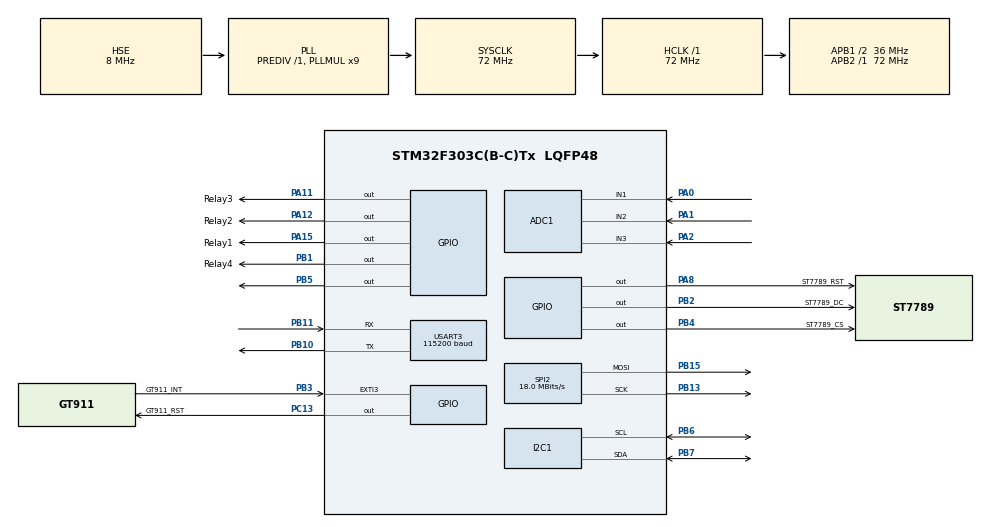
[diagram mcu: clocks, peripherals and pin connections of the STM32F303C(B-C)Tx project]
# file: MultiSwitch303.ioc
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ADC1.Channel-1\#ChannelRegularConversion=ADC_CHANNEL_1
ADC1.Channel-2\#ChannelRegularConversion=ADC_CHANNEL_2
ADC1.Channel-3\#ChannelRegularConversion=ADC_CHANNEL_3
ADC1.ContinuousConvMode=ENABLE
ADC1.NbrOfConversion=3
ADC1.NbrOfConversionFlag=1
ADC1.Offset-1\#ChannelRegularConversion=0
ADC1.Offset-2\#ChannelRegularConversion=0
ADC1.Offset-3\#ChannelRegularConversion=0
ADC1.OffsetNumber-1\#ChannelRegularConversion=ADC_OFFSET_NONE
ADC1.OffsetNumber-2\#ChannelRegularConversion=ADC_OFFSET_NONE
ADC1.OffsetNumber-3\#ChannelRegularConversion=ADC_OFFSET_NONE
ADC1.Rank-1\#ChannelRegularConversion=1
ADC1.Rank-2\#ChannelRegularConversion=2
ADC1.Rank-3\#ChannelRegularConversion=3
ADC1.SamplingTime-1\#ChannelRegularConversion=ADC_SAMPLETIME_1CYCLE_5
ADC1.SamplingTime-2\#ChannelRegularConversion=ADC_SAMPLETIME_1CYCLE_5
ADC1.SamplingTime-3\#ChannelRegularConversion=ADC_SAMPLETIME_1CYCLE_5
ADC1.SamplingTimeOPAMP-2\#ChannelRegularConversion=ADC_SAMPLETIME_61CYCLES_5
ADC1.SamplingTimeOPAMP-3\#ChannelRegularConversion=ADC_SAMPLETIME_61CYCLES_5
ADC1.master=1
Dma.I2C1_RX.0.Direction=DMA_PERIPH_TO_MEMORY
Dma.I2C1_RX.0.Instance=DMA1_Channel7
Dma.I2C1_RX.0.MemDataAlignment=DMA_MDATAALIGN_BYTE
Dma.I2C1_RX.0.MemInc=DMA_MINC_ENABLE
Dma.I2C1_RX.0.Mode=DMA_NORMAL
Dma.I2C1_RX.0.PeriphDataAlignment=DMA_PDATAALIGN_BYTE
Dma.I2C1_RX.0.PeriphInc=DMA_PINC_DISABLE
Dma.I2C1_RX.0.Priority=DMA_PRIORITY_LOW
Dma.I2C1_TX.1.Direction=DMA_MEMORY_TO_PERIPH
Dma.I2C1_TX.1.Instance=DMA1_Channel6
Dma.I2C1_TX.1.MemDataAlignment=DMA_MDATAALIGN_BYTE
Dma.I2C1_TX.1.MemInc=DMA_MINC_ENABLE
Dma.I2C1_TX.1.Mode=DMA_NORMAL
Dma.I2C1_TX.1.PeriphDataAlignment=DMA_PDATAALIGN_BYTE
Dma.I2C1_TX.1.PeriphInc=DMA_PINC_DISABLE
Dma.I2C1_TX.1.Priority=DMA_PRIORITY_LOW
Dma.Request0=I2C1_RX
Dma.Request1=I2C1_TX
Mcu.Family=STM32F3
Mcu.Name=STM32F303C(B-C)Tx
Mcu.Package=LQFP48
NVIC.DMA1_Channel6_IRQn=true\:0\:0\:false\:false\:true\:false\:true\:true
NVIC.DMA1_Channel7_IRQn=true\:0\:0\:false\:false\:true\:false\:true\:true
NVIC.EXTI3_IRQn=true\:0\:0\:false\:false\:true\:true\:true\:true
NVIC.I2C1_EV_IRQn=true\:0\:0\:false\:false\:true\:true\:true\:true
NVIC.PriorityGroup=NVIC_PRIORITYGROUP_4
NVIC.TIM1_UP_TIM16_IRQn=true\:15\:0\:false\:false\:true\:false\:true\:true
NVIC.TimeBase=TIM1_UP_TIM16_IRQn
NVIC.TimeBaseIP=TIM1
PA0.Mode=IN1-Single-Ended
PA0.Signal=ADC1_IN1
PA1.Mode=IN2-Single-Ended
PA1.Signal=ADC1_IN2
PA11.GPIO_Label=Relay3
PA11.Signal=GPIO_Output
PA12.GPIO_Label=Relay2
PA12.Signal=GPIO_Output
PA13.Mode=Serial_Wire
PA13.Signal=SYS_JTMS-SWDIO
PA14.Mode=Serial_Wire
PA14.Signal=SYS_JTCK-SWCLK
PA15.GPIO_Label=Relay1
PA15.Signal=GPIO_Output
PA2.Mode=IN3-Single-Ended
PA2.Signal=ADC1_IN3
PA8.GPIO_Label=ST7789_RST
PA8.Signal=GPIO_Output
PB1.GPIO_Label=Relay4
PB1.Signal=GPIO_Output
PB10.Mode=Asynchronous
PB10.Signal=USART3_TX
PB11.Mode=Asynchronous
PB11.Signal=USART3_RX
PB13.Mode=TX_Only_Simplex_Unidirect_Master
PB13.Signal=SPI2_SCK
PB15.Mode=TX_Only_Simplex_Unidirect_Master
PB15.Signal=SPI2_MOSI
PB2.GPIO_Label=ST7789_DC
PB2.Signal=GPIO_Output
PB3.GPIO_Label=GT911_INT
PB3.Signal=GPXTI3
PB4.GPIO_Label=ST7789_CS
PB4.Signal=GPIO_Output
PB5.Signal=GPIO_Output
PB6.Mode=I2C
PB6.Signal=I2C1_SCL
PB7.Mode=I2C
PB7.Signal=I2C1_SDA
PC13.GPIO_Label=GT911_RST
PC13.Signal=GPIO_Output
PC14-OSC32_IN.Mode=LSE-External-Oscillator
PC14-OSC32_IN.Signal=RCC_OSC32_IN
PC15-OSC32_OUT.Mode=LSE-External-Oscillator
PC15-OSC32_OUT.Signal=RCC_OSC32_OUT
PF0-OSC_IN.Mode=HSE-External-Oscillator
PF0-OSC_IN.Signal=RCC_OSC_IN
PF1-OSC_OUT.Mode=HSE-External-Oscillator
PF1-OSC_OUT.Signal=RCC_OSC_OUT
ProjectManager.HeapSize=0x200
ProjectManager.StackSize=0x400
ProjectManager.TargetToolchain=STM32CubeIDE
RCC.AHBFreq_Value=72000000
RCC.APB1CLKDivider=RCC_HCLK_DIV2
RCC.APB1Freq_Value=36000000
RCC.APB1TimFreq_Value=72000000
RCC.APB2Freq_Value=72000000
RCC.APB2TimFreq_Value=72000000
RCC.CortexFreq_Value=72000000
RCC.HCLKFreq_Value=72000000
RCC.HSE_VALUE=8000000
RCC.HSI_VALUE=8000000
RCC.PLLMUL=RCC_PLL_MUL9
RCC.PLLSourceVirtual=RCC_PLLSOURCE_HSE
RCC.SYSCLKFreq_VALUE=72000000
RCC.SYSCLKSourceVirtual=RCC_SYSCLKSOURCE_PLLCLK
RCC.USBFreq_Value=72000000
SPI2.CLKPhase=SPI_PHASE_2EDGE
SPI2.CLKPolarity=SPI_POLARITY_HIGH
SPI2.CalculateBaudRate=18.0 MBits/s
SPI2.DataSize=SPI_DATASIZE_8BIT
SPI2.Direction=SPI_DIRECTION_2LINES
SPI2.Mode=SPI_MODE_MASTER
SPI2.VirtualType=VM_MASTER
STMicroelectronics.X-CUBE-TOUCHGFX.4.22.0.tgfx_buffering_strategy=Partial
STMicroelectronics.X-CUBE-TOUCHGFX.4.22.0.tgfx_custom_height=240
STMicroelectronics.X-CUBE-TOUCHGFX.4.22.0.tgfx_custom_width=320
STMicroelectronics.X-CUBE-TOUCHGFX.4.22.0_IsPackSelfContextualization=true
USART3.BaudRate=115200
USART3.VirtualMode-Asynchronous=VM_ASYNC
VP_SYS_VS_tim1.Mode=TIM1
board=custom

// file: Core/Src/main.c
/* USER CODE BEGIN Header */
/**
  ******************************************************************************
  * @file           : main.c
  * @brief          : Main program body
  ******************************************************************************
  * @attention
  *
  * Copyright (c) 2023 STMicroelectronics.
  * All rights reserved.
  *
  * This software is licensed under terms that can be found in the LICENSE file
  * in the root directory of this software component.
  * If no LICENSE file comes with this software, it is provided AS-IS.
  *
  ******************************************************************************
  */
/* USER CODE END Header */
#include "main.h"

/* USER CODE BEGIN Includes */
#include "st7789.h"
#include "fonts.h"
#include "bitmap.h"

#include "GT911.h"
#include "ee24.h"

//#include "lvgl.h"
//#include "lv_conf.h"
//#include "examples/lv_examples.h"
/* USER CODE END Includes */

ADC_HandleTypeDef hadc1;

I2C_HandleTypeDef hi2c1;
DMA_HandleTypeDef hdma_i2c1_rx;
DMA_HandleTypeDef hdma_i2c1_tx;

SPI_HandleTypeDef hspi2;

UART_HandleTypeDef huart3;

void SystemClock_Config(void);
static void MX_GPIO_Init(void);
static void MX_DMA_Init(void);
static void MX_I2C1_Init(void);
static void MX_SPI2_Init(void);
static void MX_USART3_UART_Init(void);
static void MX_ADC1_Init(void);

/* USER CODE BEGIN 0 */
#ifdef __GNUC__
/* With GCC, small printf (option LD Linker->Libraries->Small printf
   set to 'Yes') calls __io_putchar() */
#define PUTCHAR_PROTOTYPE int __io_putchar(int ch)
#else
#define PUTCHAR_PROTOTYPE int fputc(int ch, FILE *f)
#endif /* __GNUC__ */

/**
  * @brief  Retargets the C library printf function to the USART.
  * @param  None
  * @retval None
  */
PUTCHAR_PROTOTYPE
{
  /* Place your implementation of fputc here */
  /* e.g. write a character to the USART3 and Loop until the end of transmission */
  HAL_UART_Transmit(&huart3, (uint8_t *)&ch, 1, 0xFFFF);

  return ch;
}
/*
#define DISP_HOR_RES 320
#define DISP_VER_RES 240

static lv_disp_drv_t disp_drv;
static lv_color_t disp_buf1[DISP_HOR_RES * DISP_VER_RES /10];
static lv_color_t disp_buf2[DISP_HOR_RES * DISP_VER_RES /10];

//Descriptor of a input device driver

static volatile uint32_t t_saved = 0;

void monitor_cb(lv_disp_drv_t *d, uint32_t t, uint32_t p){
	t_saved = t;
}

void tft_flush(lv_disp_drv_t * disp, const lv_area_t * area, lv_color_t * color_p){

    if(area->x2 < 0) return;
    if(area->y2 < 0) return;
    if(area->x1 > DISP_HOR_RES - 1) return;
    if(area->y1 > DISP_VER_RES - 1) return;

    //char Buffer[40];
    //char Buffer1[40];
    //for(int i; i<40; i++)
    //{
    	//Buffer[i] = Buffer1[i];
    //}

    int indx=0;
    for(int32_t y = area->y1; y <= area->y2; y++) {
        for(int32_t x = area->x1; x <= area->x2; x++) {
            //set_pixel(x, y, *color_p);  // Put a pixel to the display
        	ST7789_DrawPixel(x, y, color_p->full);
            color_p++;
            indx++;
        }
        indx =0;
    }

    lv_disp_flush_ready(disp);         // Indicate you are ready with the flushing
}
*/
uint16_t Xread, Yread;

GT911_Config_t sampleConfig = {.X_Resolution = 320, .Y_Resolution = 240, .Number_Of_Touch_Support = 1, .ReverseY = false, .ReverseX = false, .SwithX2Y = true, .SoftwareNoiseReduction = true};
TouchCoordinate_t coordinate[5];
uint8_t number;

/*
void GT911_Read(lv_indev_drv_t * drv, lv_indev_data_t*data)
{

	if (Dev_Now.Touch == 1) {
		//printf("%d  %d\n\n", Dev_Now.X[0], Dev_Now.Y[0]);
		data->state = LV_INDEV_STATE_PRESSED;
		data->point.x = Dev_Now.X[0];
		data->point.y = Dev_Now.Y[0];
	} else {
		data->state = LV_INDEV_STATE_RELEASED;
	}

}
*/
void Display_init(int rotation){

	// Display registration
	//=====================
/*
	static lv_disp_draw_buf_t buf;

	lv_disp_draw_buf_init(&buf, disp_buf1, disp_buf2, DISP_HOR_RES * DISP_VER_RES /10);
	lv_disp_drv_init(&disp_drv);
*/

	ST7789_Init();
	ST7789_rotation( rotation );
	GT911_Init(sampleConfig);
	HAL_Delay(10);
/*
	disp_drv.draw_buf = &buf;
	disp_drv.flush_cb = tft_flush;
	disp_drv.monitor_cb = monitor_cb;
	disp_drv.hor_res = DISP_HOR_RES;
	disp_drv.ver_res = DISP_VER_RES;
	disp_drv.rotated = rotation;
	lv_disp_drv_register(&disp_drv);
*/
/*
	//Touch registration
	//=====================
    lv_indev_drv_t indev_drv;
    lv_indev_drv_init(&indev_drv);
    indev_drv.type =LV_INDEV_TYPE_POINTER;
    indev_drv.read_cb = GT911_Read;
    lv_indev_drv_register(&indev_drv);
    HAL_Delay(10);
*/
}

enum TouchState {
    IDLE,
    PRESS_DETECTED,
};

enum TouchState touchState = IDLE;

struct DataStructure {
	  uint8_t Relay_1, Relay_2, Relay_3, Relay_4;
	  uint8_t main_menu, sett, prev_menu;
	  uint8_t adc_en, scan, save;
};

void ADC_Select_CH1 (void) {

	ADC_ChannelConfTypeDef sConfig = {0};

	sConfig.Channel = ADC_CHANNEL_1;
	sConfig.Rank = ADC_REGULAR_RANK_1;
	sConfig.SingleDiff = ADC_SINGLE_ENDED;
	sConfig.SamplingTime = ADC_SAMPLETIME_1CYCLE_5;
	sConfig.OffsetNumber = ADC_OFFSET_NONE;
	sConfig.Offset = 0;
	if (HAL_ADC_ConfigChannel(&hadc1, &sConfig) != HAL_OK)
	{
	  Error_Handler();
	}
}

void ADC_Select_CH2 (void) {

	ADC_ChannelConfTypeDef sConfig = {0};

	sConfig.Channel = ADC_CHANNEL_2;
	sConfig.Rank = ADC_REGULAR_RANK_1;
	if (HAL_ADC_ConfigChannel(&hadc1, &sConfig) != HAL_OK)
	{
	  Error_Handler();
	}
}

void ADC_Select_CH3 (void) {

	ADC_ChannelConfTypeDef sConfig = {0};

	sConfig.Channel = ADC_CHANNEL_3;
	sConfig.Rank = ADC_REGULAR_RANK_1;
	if (HAL_ADC_ConfigChannel(&hadc1, &sConfig) != HAL_OK)
	{
	  Error_Handler();
	}
}

/*
if (ee24_isConnected())
{
	  data[0] = datastruc.Relay_1;
	  data[1] = datastruc.Relay_2;
	  data[2] = datastruc.Relay_3;
	  data[3] = datastruc.Relay_4;
	  data[4] = datastruc.main_menu;
	  data[5] = datastruc.sett;
	  data[6] = datastruc.prev_menu;
	  data[7] = datastruc.adc_en;

	  ee24_write(0, data, 8, 1000);
}
*/

/* USER CODE END 0 */

int main(void)
{
  /* USER CODE BEGIN 1 */
 struct DataStructure datastruc  = {false, false, false, false, true, false, 1, false, false};
 uint8_t data[8] = {3};
 char s1[11], s3[11], s2[11];

 uint32_t value[3];
 float temp;

  /* USER CODE END 1 */

  /* MCU Configuration--------------------------------------------------------*/

  /* Reset of all peripherals, Initializes the Flash interface and the Systick. */
  HAL_Init();

  /* Configure the system clock */
  SystemClock_Config();

  /* Initialize all configured peripherals */
  MX_GPIO_Init();
  MX_DMA_Init();
  MX_I2C1_Init();
  MX_SPI2_Init();
  MX_USART3_UART_Init();
  MX_ADC1_Init();
  /* USER CODE BEGIN 2 */
/*
  if (ee24_isConnected())
  {
    ee24_read(0, data, 8, 1000);
    if (data[0] < 2) {
    		datastruc.Relay_1 = data[0];
    		datastruc.Relay_2 = data[1];
    		datastruc.Relay_3 = data[2];
    		datastruc.Relay_4 = data[3];
    		datastruc.main_menu = data[4];
    		datastruc.sett = data[5];
    		datastruc.prev_menu = data[6];
    		datastruc.adc_en = data[7];
    }
  }
*/

/*
  HAL_Delay(100);
  if (HAL_I2C_IsDeviceReady(&hi2c1, 0x5D<<1, 3, 0xFFF) != HAL_OK)
	  printf("NOP\n");
  else
	  printf("GT911 was found\n");

  GT911_init();

  HAL_Delay(1000);

  //Back Light On
  HAL_GPIO_WritePin(GPIOB, GPIO_PIN_5, GPIO_PIN_SET);

  ST7789_Init();
  ST7789_rotation( 2 );

  ST7789_FillScreen( RGB565(255, 0, 0) );
  //ST7789_print( 60, 20, RGB565(255, 255, 255) , RGB565(255, 0, 0) , 1, &Font_16x26, 1, "STM32 Display" );
  ST7789_DrawBitmap( 70, 100, logo, 174, 44, RGB565(255, 255, 255) );

  //ST7789_DrawImage( 40, 0, 240, 240, img1 );

  HAL_Delay (4000);
*/
/*
  //Back Light On
  HAL_GPIO_WritePin(GPIOB, GPIO_PIN_5, GPIO_PIN_SET);

  lv_init();
  Display_init(2);

  lv_example_get_started_1();
*/

  //Back Light On
  HAL_GPIO_WritePin(GPIOB, GPIO_PIN_5, GPIO_PIN_SET);

  Display_init(2);

  //Theme
  ST7789_FillScreen( ST7789_BLACK );
  ST7789_DrawBitmap( 5, 10, logo, 174, 44, RGB565(255, 255, 255) );
  ST7789_DrawBitmap( 270, 10, settings, 44, 44, RGB565(255, 255, 255) );
  ST7789_DrawLine(0, 55, 340, 55, ST7789_MAGENTA);
  ST7789_print( 70, 65, ST7789_WHITE , ST7789_BLACK , 0, &Font_16x26, 1, "MultiSwitch" );

  ST7789_print( 20, 160, ST7789_WHITE , ST7789_BLACK , 0, &Font_11x18, 1, "Off" );
  ST7789_DrawRectangleFilled(20, 180, 70, 220, ST7789_RED) ;
  ST7789_print( 100, 160, ST7789_WHITE , ST7789_BLACK , 0, &Font_11x18, 1, "Off" );
  ST7789_DrawRectangleFilled(100, 180, 150, 220, ST7789_RED) ;
  ST7789_print( 180, 160, ST7789_WHITE , ST7789_BLACK , 0, &Font_11x18, 1, "Off" );
  ST7789_DrawRectangleFilled(180, 180, 230, 220, ST7789_RED) ;
  ST7789_print( 260, 160, ST7789_WHITE , ST7789_BLACK , 0, &Font_11x18, 1, "Off" );
  ST7789_DrawRectangleFilled(260, 180, 310, 220, ST7789_RED) ;

  /* USER CODE END 2 */

  /* Infinite loop */
  /* USER CODE BEGIN WHILE */
  while (1)
  {

	  GT911_ReadTouch(coordinate, &number);

	  if (datastruc.adc_en == true){

	  ADC_Select_CH1();
	  HAL_ADC_Start(&hadc1);
	  HAL_ADC_PollForConversion(&hadc1, 1000);
	  value[0] = HAL_ADC_GetValue(&hadc1);
	  HAL_ADC_Stop(&hadc1);

	  ADC_Select_CH2();
	  HAL_ADC_Start(&hadc1);
	  HAL_ADC_PollForConversion(&hadc1, 1000);
	  value[1] = HAL_ADC_GetValue(&hadc1);
	  HAL_ADC_Stop(&hadc1);

	  ADC_Select_CH3();
	  HAL_ADC_Start(&hadc1);
	  HAL_ADC_PollForConversion(&hadc1, 1000);
	  value[2] = HAL_ADC_GetValue(&hadc1);
	  HAL_ADC_Stop(&hadc1);

	  printf("ch1 = %f\t ch2 = %f\t ch3 = %f\r\n", ((float)value[0]/4096)*3.3, ((float)value[1]/4096)*3.3, ((float)value[2]/4096)*3.3);

	  if (datastruc.main_menu == true && datastruc.sett == false)  {

			  ST7789_DrawRectangleFilled(20, 120, 300, 135, RGB565(0, 0, 0)) ;

			  ST7789_print( 20, 120, ST7789_WHITE , ST7789_BLACK , 0, &Font_11x18, 1, "1=" );
			  sprintf(s1,"%2.1f", ((float)value[0]/4096)*3.3);
			  ST7789_print( 45, 120, ST7789_WHITE , ST7789_BLACK , 0, &Font_11x18, 1, s1 );

			  ST7789_print( 100, 120, ST7789_WHITE , ST7789_BLACK , 0, &Font_11x18, 1, "2=" );
			  sprintf(s2,"%2.1f", ((float)value[1]/4096)*3.3);
			  ST7789_print( 125, 120, ST7789_WHITE , ST7789_BLACK , 0, &Font_11x18, 1, s2 );

			  ST7789_print( 180, 120, ST7789_WHITE , ST7789_BLACK , 0, &Font_11x18, 1, "3=" );
			  sprintf(s3,"%2.1f", ((float)value[2]/4096)*3.3);
			  ST7789_print( 205, 120, ST7789_WHITE , ST7789_BLACK , 0, &Font_11x18, 1, s3 );

		  }
	  } else {
		  //nothing
	  }

	  if (datastruc.main_menu == true && datastruc.sett == false) {

		  // Handle touch detection logic
		  switch (touchState) {
			  case IDLE:
				  if (number > 0) {
					  // Perform action when press is detected

					  if (coordinate[0].x >= 210 && coordinate[0].x <=235 && coordinate[0].y >= 5 && coordinate[0].y <= 30 && datastruc.main_menu == true && datastruc.sett == false) {
						  printf("labas\n");
						  datastruc.sett = true;
						  datastruc.main_menu = false;
					  }

						  //Relay 1
						  if (coordinate[0].x >= 20 && coordinate[0].x <=40 && coordinate[0].y >= 110 && coordinate[0].y <= 140 && datastruc.Relay_1 == false) {
							  ST7789_DrawRectangleFilled(20, 160, 55, 175, RGB565(0, 0, 0)) ;
							  ST7789_print( 20, 160, ST7789_WHITE , ST7789_BLACK , 0, &Font_11x18, 1, "On" );
							  ST7789_DrawRectangleFilled(20, 180, 70, 220, ST7789_GREEN);
							  HAL_GPIO_WritePin(Relay1_GPIO_Port, Relay1_Pin, GPIO_PIN_SET);
							  datastruc.Relay_1 = true;
						  } else if (coordinate[0].x >= 20 && coordinate[0].x <=40 && coordinate[0].y >= 110 && coordinate[0].y <= 140 && datastruc.Relay_1 == true) {
							  ST7789_DrawRectangleFilled(20, 160, 55, 175, RGB565(0, 0, 0));
							  ST7789_print( 20, 160, ST7789_WHITE , ST7789_BLACK , 0, &Font_11x18, 1, "Off" );
							  ST7789_DrawRectangleFilled(20, 180, 70, 220, ST7789_RED) ;
							  HAL_GPIO_WritePin(Relay1_GPIO_Port, Relay1_Pin, GPIO_PIN_RESET);
							  datastruc.Relay_1 = false;
						  }

						  //Relay 2
						  if (coordinate[0].x >= 55 && coordinate[0].x <=75 && coordinate[0].y >= 110 && coordinate[0].y <= 140 && datastruc.Relay_2 == false) {
							  ST7789_DrawRectangleFilled(100, 160, 135, 175, RGB565(0, 0, 0)) ;
							  ST7789_print( 100, 160, ST7789_WHITE , ST7789_BLACK , 0, &Font_11x18, 1, "On" );
							  ST7789_DrawRectangleFilled(100, 180, 150, 220, ST7789_GREEN);
							  HAL_GPIO_WritePin(Relay2_GPIO_Port, Relay2_Pin, GPIO_PIN_SET);
							  datastruc.Relay_2 = true;
						  } else if (coordinate[0].x >= 55 && coordinate[0].x <=75 && coordinate[0].y >= 110 && coordinate[0].y <= 140 && datastruc.Relay_2 == true) {
							  ST7789_DrawRectangleFilled(100, 160, 135, 175, RGB565(0, 0, 0));
							  ST7789_print( 100, 160, ST7789_WHITE , ST7789_BLACK , 0, &Font_11x18, 1, "Off" );
							  ST7789_DrawRectangleFilled(100, 180, 150, 220, ST7789_RED) ;
							  HAL_GPIO_WritePin(Relay2_GPIO_Port, Relay2_Pin, GPIO_PIN_RESET);
							  datastruc.Relay_2 = false;
						  }

						  //Relay 3
						  if (coordinate[0].x >= 250 && coordinate[0].x <=275 && coordinate[0].y >= 110 && coordinate[0].y <= 140 && datastruc.Relay_3 == false) {
							  ST7789_DrawRectangleFilled(180, 160, 215, 175, RGB565(0, 0, 0)) ;
							  ST7789_print( 180, 160, ST7789_WHITE , ST7789_BLACK , 0, &Font_11x18, 1, "On" );
							  ST7789_DrawRectangleFilled(180, 180, 230, 220, ST7789_GREEN);
							  HAL_GPIO_WritePin(Relay3_GPIO_Port, Relay3_Pin, GPIO_PIN_SET);
							  datastruc.Relay_3 = true;
						  } else if (coordinate[0].x >= 250 && coordinate[0].x <=275 && coordinate[0].y >= 110 && coordinate[0].y <= 140 && datastruc.Relay_3 == true) {
							  ST7789_DrawRectangleFilled(180, 160, 215, 175, RGB565(0, 0, 0));
							  ST7789_print( 180, 160, ST7789_WHITE , ST7789_BLACK , 0, &Font_11x18, 1, "Off" );
							  ST7789_DrawRectangleFilled(180, 180, 230, 220, ST7789_RED) ;
							  HAL_GPIO_WritePin(Relay3_GPIO_Port, Relay3_Pin, GPIO_PIN_RESET);
							  datastruc.Relay_3 = false;
						  }

						  //Relay 4
						  if (coordinate[0].x >= 213 && coordinate[0].x <=230 && coordinate[0].y >= 110 && coordinate[0].y <= 140 && datastruc.Relay_4 == false) {
							  ST7789_DrawRectangleFilled(260, 160, 295, 175, RGB565(0, 0, 0)) ;
							  ST7789_print( 260, 160, ST7789_WHITE , ST7789_BLACK , 0, &Font_11x18, 1, "On" );
							  ST7789_DrawRectangleFilled(260, 180, 310, 220, ST7789_GREEN);
							  HAL_GPIO_WritePin(Relay4_GPIO_Port, Relay4_Pin, GPIO_PIN_SET);
							  datastruc.Relay_4 = true;
						  } else if (coordinate[0].x >= 213 && coordinate[0].x <=230 && coordinate[0].y >= 110 && coordinate[0].y <= 140 && datastruc.Relay_4 == true) {
							  ST7789_DrawRectangleFilled(260, 160, 295, 175, RGB565(0, 0, 0));
							  ST7789_print( 260, 160, ST7789_WHITE , ST7789_BLACK , 0, &Font_11x18, 1, "Off" );
							  ST7789_DrawRectangleFilled(260, 180, 310, 220, ST7789_RED) ;
							  HAL_GPIO_WritePin(Relay4_GPIO_Port, Relay4_Pin, GPIO_PIN_RESET);
							  datastruc.Relay_4 = false;
						  }

					  touchState = PRESS_DETECTED;
				  }
				  break;

			  case PRESS_DETECTED:
				  if (number == 0) {
					  // Reset state when touch is released
					  touchState = IDLE;
				  }
				  break;
		  }

		  if (datastruc.prev_menu != 1) {
			datastruc.prev_menu = 1;
			ST7789_FillScreen( ST7789_BLACK );
			ST7789_DrawBitmap( 5, 10, logo, 174, 44, RGB565(255, 255, 255) );
			ST7789_DrawBitmap( 270, 10, settings, 44, 44, RGB565(255, 255, 255) );
			ST7789_DrawLine(0, 55, 340, 55, ST7789_MAGENTA);
			ST7789_print( 70, 65, ST7789_WHITE , ST7789_BLACK , 0, &Font_16x26, 1, "MultiSwitch" );

			if (datastruc.Relay_1 == false) {
				ST7789_print( 20, 160, ST7789_WHITE , ST7789_BLACK , 0, &Font_11x18, 1, "Off" );
				ST7789_DrawRectangleFilled(20, 180, 70, 220, ST7789_RED) ;
			} else {
				ST7789_print( 20, 160, ST7789_WHITE , ST7789_BLACK , 0, &Font_11x18, 1, "On" );
				ST7789_DrawRectangleFilled(20, 180, 70, 220, ST7789_GREEN) ;
			}
			if (datastruc.Relay_2 == false) {
				ST7789_print( 100, 160, ST7789_WHITE , ST7789_BLACK , 0, &Font_11x18, 1, "Off" );
				ST7789_DrawRectangleFilled(100, 180, 150, 220, ST7789_RED) ;
			} else {
				ST7789_print( 100, 160, ST7789_WHITE , ST7789_BLACK , 0, &Font_11x18, 1, "On" );
				ST7789_DrawRectangleFilled(100, 180, 150, 220, ST7789_GREEN) ;
			}
			if (datastruc.Relay_3 == false) {
				ST7789_print( 180, 160, ST7789_WHITE , ST7789_BLACK , 0, &Font_11x18, 1, "Off" );
				ST7789_DrawRectangleFilled(180, 180, 230, 220, ST7789_RED) ;
			} else {
				ST7789_print( 180, 160, ST7789_WHITE , ST7789_BLACK , 0, &Font_11x18, 1, "On" );
				ST7789_DrawRectangleFilled(180, 180, 230, 220, ST7789_GREEN) ;
			}
			if (datastruc.Relay_4 == false) {
				ST7789_print( 260, 160, ST7789_WHITE , ST7789_BLACK , 0, &Font_11x18, 1, "Off" );
				ST7789_DrawRectangleFilled(260, 180, 310, 220, ST7789_RED) ;
			} else {
				ST7789_print( 260, 160, ST7789_WHITE , ST7789_BLACK , 0, &Font_11x18, 1, "On" );
				ST7789_DrawRectangleFilled(260, 180, 310, 220, ST7789_GREEN) ;
			}
		  }
	  }

	  if (datastruc.main_menu == false && datastruc.sett == true) {

		  // Handle touch detection logic
		  switch (touchState) {
			  case IDLE:
				  if (number > 0) {
					  // Perform action when press is detected

				  if (coordinate[0].x >= 210 && coordinate[0].x <=235 && coordinate[0].y >= 5 && coordinate[0].y <= 30 && datastruc.main_menu == false && datastruc.sett == true) {
					  datastruc.sett = false;
					  datastruc.main_menu = true;
				  }

				  if (coordinate[0].x >= 10 && coordinate[0].x <=50 && coordinate[0].y >= 55 && coordinate[0].y <= 90 && datastruc.adc_en == false) {
					  ST7789_DrawRectangleFilled(10, 90, 100, 115, RGB565(0, 0, 0)) ;
					  ST7789_print( 10, 90, ST7789_WHITE , ST7789_BLACK , 0, &Font_11x18, 1, "ADC on" );
					  ST7789_DrawRectangleFilled(10, 110, 50, 150, ST7789_GREEN) ;
					  datastruc.adc_en = true;
				  } else if (coordinate[0].x >= 10 && coordinate[0].x <=50 && coordinate[0].y >= 60 && coordinate[0].y <= 85 && datastruc.adc_en == true) {
					  ST7789_DrawRectangleFilled(10, 90, 100, 115, RGB565(0, 0, 0));
					  ST7789_print( 10, 90, ST7789_WHITE , ST7789_BLACK , 0, &Font_11x18, 1, "ADC Off" );
					  ST7789_DrawRectangleFilled(10, 110, 50, 150, ST7789_RED) ;
					  datastruc.adc_en = false;
				  }

				  if (coordinate[0].x >= 55 && coordinate[0].x <=75 && coordinate[0].y >= 55 && coordinate[0].y <= 90 && datastruc.save == false) {
					  ST7789_DrawRectangleFilled(100, 90, 145, 115, RGB565(0, 0, 0)) ;
					  ST7789_print( 100, 90, ST7789_WHITE , ST7789_BLACK , 0, &Font_11x18, 1, "Wait" );
					  ST7789_DrawRectangleFilled(100, 110, 140, 150, ST7789_BLUE) ;
					  datastruc.save = true;
				  } else if (coordinate[0].x >= 55 && coordinate[0].x <=75 && coordinate[0].y >= 60 && coordinate[0].y <= 85 && datastruc.save == true) {
					  ST7789_DrawRectangleFilled(100, 90, 145, 115, RGB565(0, 0, 0));
					  ST7789_print( 100, 90, ST7789_WHITE , ST7789_BLACK , 0, &Font_11x18, 1, "Save" );
					  ST7789_DrawRectangleFilled(100, 110, 140, 150, ST7789_RED) ;
					  datastruc.save = false;
				  }

				  if (coordinate[0].x >= 10 && coordinate[0].x <=50 && coordinate[0].y >= 110 && coordinate[0].y <= 140 && datastruc.scan == false) {
					  ST7789_DrawRectangleFilled(100, 160, 110, 175, RGB565(0, 0, 0)) ;
					  ST7789_print( 10, 160, ST7789_WHITE , ST7789_BLACK , 0, &Font_11x18, 1, "Scan On" );
					  ST7789_DrawRectangleFilled(10, 180, 50, 220, ST7789_GREEN) ;
					  datastruc.scan = true;
				  } else if (coordinate[0].x >= 10 && coordinate[0].x <=50 && coordinate[0].y >= 110 && coordinate[0].y <= 145 && datastruc.scan == true) {
					  ST7789_DrawRectangleFilled(10, 160, 110, 175, RGB565(0, 0, 0));
					  ST7789_print( 10, 160, ST7789_WHITE , ST7789_BLACK , 0, &Font_11x18, 1, "Scan Off" );
					  ST7789_DrawRectangleFilled(10, 180, 50, 220, ST7789_RED) ;
					  datastruc.scan = false;
				  }

				  touchState = PRESS_DETECTED;
			  }
			  break;

		  case PRESS_DETECTED:
			  if (number == 0) {
				  // Reset state when touch is released
				  touchState = IDLE;
			  }
				  break;
		}

		  if (datastruc.prev_menu != 2) {
			  datastruc.prev_menu = 2;
			  ST7789_FillScreen( ST7789_BLACK );
			  ST7789_DrawBitmap( 5, 10, logo, 174, 44, RGB565(255, 255, 255) );
			  ST7789_DrawBitmap( 260, 10, back, 79, 44, RGB565(255, 255, 255) );
			  ST7789_DrawLine(0, 55, 340, 55, ST7789_MAGENTA);

				if (datastruc.adc_en == false) {
					ST7789_print( 10, 90, ST7789_WHITE , ST7789_BLACK , 0, &Font_11x18, 1, "ADC Off" );
					ST7789_DrawRectangleFilled(10, 110, 50, 150, ST7789_RED) ;
				} else {
					ST7789_print( 10, 90, ST7789_WHITE , ST7789_BLACK , 0, &Font_11x18, 1, "ADC On" );
					ST7789_DrawRectangleFilled(10, 110, 50, 150, ST7789_GREEN) ;
				}

				if (datastruc.save == false) {
					ST7789_print( 100, 90, ST7789_WHITE , ST7789_BLACK , 0, &Font_11x18, 1, "Save" );
					ST7789_DrawRectangleFilled(100, 110, 140, 150, ST7789_RED) ;
				} else {
					ST7789_print( 100, 90, ST7789_WHITE , ST7789_BLACK , 0, &Font_11x18, 1, "Wait" );
					ST7789_DrawRectangleFilled(100, 110, 140, 150, ST7789_BLUE) ;
				}

				if (datastruc.scan == false) {
					ST7789_print( 10, 160, ST7789_WHITE , ST7789_BLACK , 0, &Font_11x18, 1, "Scan Off" );
					ST7789_DrawRectangleFilled(10, 180, 50, 220, ST7789_RED) ;
				} else {
					ST7789_print( 10, 160, ST7789_WHITE , ST7789_BLACK , 0, &Font_11x18, 1, "Scan On" );
					ST7789_DrawRectangleFilled(10, 180, 50, 220, ST7789_GREEN) ;
				}
		  }

	  }

	 //printf("%d\n%d\r\n\n", coordinate[0].x, coordinate[0].y);
	 HAL_Delay(100);

	//HAL_Delay(1);
	//lv_task_handler();
    /* USER CODE END WHILE */

  }
}

void SystemClock_Config(void)
{
  RCC_OscInitTypeDef RCC_OscInitStruct = {0};
  RCC_ClkInitTypeDef RCC_ClkInitStruct = {0};
  RCC_PeriphCLKInitTypeDef PeriphClkInit = {0};

  /** Initializes the RCC Oscillators according to the specified parameters
  * in the RCC_OscInitTypeDef structure.
  */
  RCC_OscInitStruct.OscillatorType = RCC_OSCILLATORTYPE_HSI|RCC_OSCILLATORTYPE_HSE;
  RCC_OscInitStruct.HSEState = RCC_HSE_ON;
  RCC_OscInitStruct.HSEPredivValue = RCC_HSE_PREDIV_DIV1;
  RCC_OscInitStruct.HSIState = RCC_HSI_ON;
  RCC_OscInitStruct.HSICalibrationValue = RCC_HSICALIBRATION_DEFAULT;
  RCC_OscInitStruct.PLL.PLLState = RCC_PLL_ON;
  RCC_OscInitStruct.PLL.PLLSource = RCC_PLLSOURCE_HSE;
  RCC_OscInitStruct.PLL.PLLMUL = RCC_PLL_MUL9;
  if (HAL_RCC_OscConfig(&RCC_OscInitStruct) != HAL_OK)
  {
    Error_Handler();
  }

  /** Initializes the CPU, AHB and APB buses clocks
  */
  RCC_ClkInitStruct.ClockType = RCC_CLOCKTYPE_HCLK|RCC_CLOCKTYPE_SYSCLK
                              |RCC_CLOCKTYPE_PCLK1|RCC_CLOCKTYPE_PCLK2;
  RCC_ClkInitStruct.SYSCLKSource = RCC_SYSCLKSOURCE_PLLCLK;
  RCC_ClkInitStruct.AHBCLKDivider = RCC_SYSCLK_DIV1;
  RCC_ClkInitStruct.APB1CLKDivider = RCC_HCLK_DIV2;
  RCC_ClkInitStruct.APB2CLKDivider = RCC_HCLK_DIV1;

  if (HAL_RCC_ClockConfig(&RCC_ClkInitStruct, FLASH_LATENCY_2) != HAL_OK)
  {
    Error_Handler();
  }
  PeriphClkInit.PeriphClockSelection = RCC_PERIPHCLK_USART3|RCC_PERIPHCLK_I2C1
                              |RCC_PERIPHCLK_ADC12;
  PeriphClkInit.Usart3ClockSelection = RCC_USART3CLKSOURCE_PCLK1;
  PeriphClkInit.Adc12ClockSelection = RCC_ADC12PLLCLK_DIV1;
  PeriphClkInit.I2c1ClockSelection = RCC_I2C1CLKSOURCE_HSI;
  if (HAL_RCCEx_PeriphCLKConfig(&PeriphClkInit) != HAL_OK)
  {
    Error_Handler();
  }
}

static void MX_ADC1_Init(void)
{

  ADC_MultiModeTypeDef multimode = {0};
  ADC_ChannelConfTypeDef sConfig = {0};

  /** Common config
  */
  hadc1.Instance = ADC1;
  hadc1.Init.ClockPrescaler = ADC_CLOCK_ASYNC_DIV1;
  hadc1.Init.Resolution = ADC_RESOLUTION_12B;
  hadc1.Init.ScanConvMode = ADC_SCAN_ENABLE;
  hadc1.Init.ContinuousConvMode = ENABLE;
  hadc1.Init.DiscontinuousConvMode = DISABLE;
  hadc1.Init.ExternalTrigConvEdge = ADC_EXTERNALTRIGCONVEDGE_NONE;
  hadc1.Init.ExternalTrigConv = ADC_SOFTWARE_START;
  hadc1.Init.DataAlign = ADC_DATAALIGN_RIGHT;
  hadc1.Init.NbrOfConversion = 1;
  hadc1.Init.DMAContinuousRequests = DISABLE;
  hadc1.Init.EOCSelection = ADC_EOC_SINGLE_CONV;
  hadc1.Init.LowPowerAutoWait = DISABLE;
  hadc1.Init.Overrun = ADC_OVR_DATA_OVERWRITTEN;
  if (HAL_ADC_Init(&hadc1) != HAL_OK)
  {
    Error_Handler();
  }

  /** Configure the ADC multi-mode
  */
  multimode.Mode = ADC_MODE_INDEPENDENT;
  if (HAL_ADCEx_MultiModeConfigChannel(&hadc1, &multimode) != HAL_OK)
  {
    Error_Handler();
  }

}

static void MX_I2C1_Init(void)
{

  hi2c1.Instance = I2C1;
  hi2c1.Init.Timing = 0x2000090E;
  hi2c1.Init.OwnAddress1 = 0;
  hi2c1.Init.AddressingMode = I2C_ADDRESSINGMODE_7BIT;
  hi2c1.Init.DualAddressMode = I2C_DUALADDRESS_DISABLE;
  hi2c1.Init.OwnAddress2 = 0;
  hi2c1.Init.OwnAddress2Masks = I2C_OA2_NOMASK;
  hi2c1.Init.GeneralCallMode = I2C_GENERALCALL_DISABLE;
  hi2c1.Init.NoStretchMode = I2C_NOSTRETCH_DISABLE;
  if (HAL_I2C_Init(&hi2c1) != HAL_OK)
  {
    Error_Handler();
  }

  /** Configure Analogue filter
  */
  if (HAL_I2CEx_ConfigAnalogFilter(&hi2c1, I2C_ANALOGFILTER_ENABLE) != HAL_OK)
  {
    Error_Handler();
  }

  /** Configure Digital filter
  */
  if (HAL_I2CEx_ConfigDigitalFilter(&hi2c1, 0) != HAL_OK)
  {
    Error_Handler();
  }

}

static void MX_SPI2_Init(void)
{

  /* SPI2 parameter configuration*/
  hspi2.Instance = SPI2;
  hspi2.Init.Mode = SPI_MODE_MASTER;
  hspi2.Init.Direction = SPI_DIRECTION_2LINES;
  hspi2.Init.DataSize = SPI_DATASIZE_8BIT;
  hspi2.Init.CLKPolarity = SPI_POLARITY_HIGH;
  hspi2.Init.CLKPhase = SPI_PHASE_2EDGE;
  hspi2.Init.NSS = SPI_NSS_SOFT;
  hspi2.Init.BaudRatePrescaler = SPI_BAUDRATEPRESCALER_2;
  hspi2.Init.FirstBit = SPI_FIRSTBIT_MSB;
  hspi2.Init.TIMode = SPI_TIMODE_DISABLE;
  hspi2.Init.CRCCalculation = SPI_CRCCALCULATION_DISABLE;
  hspi2.Init.CRCPolynomial = 7;
  hspi2.Init.CRCLength = SPI_CRC_LENGTH_DATASIZE;
  hspi2.Init.NSSPMode = SPI_NSS_PULSE_DISABLE;
  if (HAL_SPI_Init(&hspi2) != HAL_OK)
  {
    Error_Handler();
  }

}

static void MX_USART3_UART_Init(void)
{

  huart3.Instance = USART3;
  huart3.Init.BaudRate = 115200;
  huart3.Init.WordLength = UART_WORDLENGTH_8B;
  huart3.Init.StopBits = UART_STOPBITS_1;
  huart3.Init.Parity = UART_PARITY_NONE;
  huart3.Init.Mode = UART_MODE_TX_RX;
  huart3.Init.HwFlowCtl = UART_HWCONTROL_NONE;
  huart3.Init.OverSampling = UART_OVERSAMPLING_16;
  huart3.Init.OneBitSampling = UART_ONE_BIT_SAMPLE_DISABLE;
  huart3.AdvancedInit.AdvFeatureInit = UART_ADVFEATURE_NO_INIT;
  if (HAL_UART_Init(&huart3) != HAL_OK)
  {
    Error_Handler();
  }

}

static void MX_DMA_Init(void)
{

  /* DMA controller clock enable */
  __HAL_RCC_DMA1_CLK_ENABLE();

  /* DMA interrupt init */
  /* DMA1_Channel6_IRQn interrupt configuration */
  HAL_NVIC_SetPriority(DMA1_Channel6_IRQn, 0, 0);
  HAL_NVIC_EnableIRQ(DMA1_Channel6_IRQn);
  /* DMA1_Channel7_IRQn interrupt configuration */
  HAL_NVIC_SetPriority(DMA1_Channel7_IRQn, 0, 0);
  HAL_NVIC_EnableIRQ(DMA1_Channel7_IRQn);

}

static void MX_GPIO_Init(void)
{
  GPIO_InitTypeDef GPIO_InitStruct = {0};

  /* GPIO Ports Clock Enable */
  __HAL_RCC_GPIOC_CLK_ENABLE();
  __HAL_RCC_GPIOF_CLK_ENABLE();
  __HAL_RCC_GPIOA_CLK_ENABLE();
  __HAL_RCC_GPIOB_CLK_ENABLE();

  /*Configure GPIO pin Output Level */
  HAL_GPIO_WritePin(GT911_RST_GPIO_Port, GT911_RST_Pin, GPIO_PIN_RESET);

  /*Configure GPIO pin Output Level */
  HAL_GPIO_WritePin(GPIOB, Relay4_Pin|ST7789_DC_Pin|ST7789_CS_Pin|GPIO_PIN_5, GPIO_PIN_RESET);

  /*Configure GPIO pin Output Level */
  HAL_GPIO_WritePin(GPIOA, ST7789_RST_Pin|Relay3_Pin|Relay2_Pin|Relay1_Pin, GPIO_PIN_RESET);

  /*Configure GPIO pin : GT911_RST_Pin */
  GPIO_InitStruct.Pin = GT911_RST_Pin;
  GPIO_InitStruct.Mode = GPIO_MODE_OUTPUT_PP;
  GPIO_InitStruct.Pull = GPIO_NOPULL;
  GPIO_InitStruct.Speed = GPIO_SPEED_FREQ_LOW;
  HAL_GPIO_Init(GT911_RST_GPIO_Port, &GPIO_InitStruct);

  /*Configure GPIO pins : Relay4_Pin ST7789_DC_Pin ST7789_CS_Pin PB5 */
  GPIO_InitStruct.Pin = Relay4_Pin|ST7789_DC_Pin|ST7789_CS_Pin|GPIO_PIN_5;
  GPIO_InitStruct.Mode = GPIO_MODE_OUTPUT_PP;
  GPIO_InitStruct.Pull = GPIO_NOPULL;
  GPIO_InitStruct.Speed = GPIO_SPEED_FREQ_LOW;
  HAL_GPIO_Init(GPIOB, &GPIO_InitStruct);

  /*Configure GPIO pins : ST7789_RST_Pin Relay3_Pin Relay2_Pin Relay1_Pin */
  GPIO_InitStruct.Pin = ST7789_RST_Pin|Relay3_Pin|Relay2_Pin|Relay1_Pin;
  GPIO_InitStruct.Mode = GPIO_MODE_OUTPUT_PP;
  GPIO_InitStruct.Pull = GPIO_NOPULL;
  GPIO_InitStruct.Speed = GPIO_SPEED_FREQ_LOW;
  HAL_GPIO_Init(GPIOA, &GPIO_InitStruct);

  /*Configure GPIO pin : GT911_INT_Pin */
  GPIO_InitStruct.Pin = GT911_INT_Pin;
  GPIO_InitStruct.Mode = GPIO_MODE_IT_RISING;
  GPIO_InitStruct.Pull = GPIO_NOPULL;
  HAL_GPIO_Init(GT911_INT_GPIO_Port, &GPIO_InitStruct);

  /* EXTI interrupt init*/
  HAL_NVIC_SetPriority(EXTI3_IRQn, 0, 0);
  HAL_NVIC_EnableIRQ(EXTI3_IRQn);

}

void HAL_TIM_PeriodElapsedCallback(TIM_HandleTypeDef *htim)
{
  if (htim->Instance == TIM1) {
    HAL_IncTick();
  }
}

void Error_Handler(void)
{
  __disable_irq();
  while (1)
  {
  }
}
